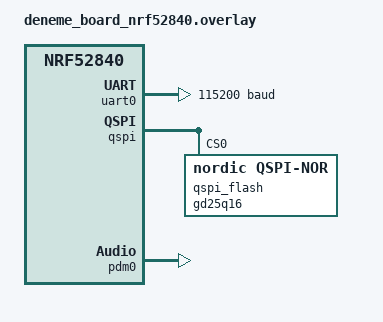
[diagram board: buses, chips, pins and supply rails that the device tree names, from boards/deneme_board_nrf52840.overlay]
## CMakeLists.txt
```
cmake_minimum_required(VERSION 3.20.0)
find_package(Zephyr REQUIRED HINTS $ENV{ZEPHYR_BASE})
project(node LANGUAGES C)

# This is a workaround for a bug in the Zephyr build system
set(ignoreMe "${NCS_TOOLCHAIN_VERSION}")

# Include directories
include_directories(
    include
)

# Add source files
file(GLOB_RECURSE APP_SOURCES
    "src/*.c"
    "drivers/*.c"
    "lib/*.c"
)


target_include_directories(app PRIVATE include)
target_sources(app PRIVATE
    ${APP_SOURCES}
)
```

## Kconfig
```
menu "Zephyr"
source "Kconfig.zephyr"
endmenu

module = Node
module-str = Node
source "subsys/logging/Kconfig.template.log_config"
```

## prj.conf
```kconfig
CONFIG_BT=y
CONFIG_BT_PERIPHERAL=y
CONFIG_BT_DEVICE_NAME="Zephyr OTS"
CONFIG_BT_OTS=y
CONFIG_BT_OTS_DIR_LIST_OBJ=y
CONFIG_BT_OTS_OBJ_NAME_WRITE_SUPPORT=y
CONFIG_BT_OTS_OACP_WRITE_SUPPORT=y
CONFIG_BT_OTS_OACP_PATCH_SUPPORT=y
CONFIG_BT_OTS_OACP_CREATE_SUPPORT=y
CONFIG_BT_OTS_OACP_DELETE_SUPPORT=y
CONFIG_BT_OTS_OACP_CHECKSUM_SUPPORT=y
CONFIG_LOG=y
CONFIG_ASSERT=y
CONFIG_FORCE_NO_ASSERT=y
# This sample needs more memory on BT_RX_THREAD
CONFIG_BT_RX_STACK_SIZE=1536
```

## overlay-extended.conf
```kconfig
CONFIG_BT_EXT_ADV=y

# Increase Advertising Data Length, as Complete Local Name too needs to be
# placed in the AUX_ADV_IND PDU compared to when it is placed in ADV_SCAN_IND
# PDU in the case of legacy advertising.
CONFIG_BT_CTLR_ADV_DATA_LEN_MAX=36
```

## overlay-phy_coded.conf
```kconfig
CONFIG_BT_EXT_ADV=y

# Enable Coded PHY support
CONFIG_BT_CTLR_PHY_CODED=y

# Disable auto PHY update, to switch to 2M PHY
CONFIG_BT_AUTO_PHY_UPDATE=n

# Increase Advertising Data Length, as Complete Local Name too needs to be
# placed in the AUX_ADV_IND PDU compared to when it is placed in ADV_SCAN_IND
# PDU in the case of legacy advertising.
CONFIG_BT_CTLR_ADV_DATA_LEN_MAX=36
```

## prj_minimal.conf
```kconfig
CONFIG_BT=y
CONFIG_BT_SMP=y
CONFIG_BT_PERIPHERAL=y
CONFIG_BT_DIS=y
CONFIG_BT_DIS_PNP=n
CONFIG_BT_BAS=y
CONFIG_BT_HRS=y
CONFIG_BT_DEVICE_NAME="Zephyr Heartrate Sensor"
CONFIG_BT_DEVICE_APPEARANCE=833

# Drivers and peripherals
CONFIG_I2C=n
CONFIG_WATCHDOG=n
CONFIG_PINCTRL=n
CONFIG_SPI=n
CONFIG_GPIO=n
CONFIG_SERIAL=n

# Power management
CONFIG_PM=n

# Interrupts
CONFIG_DYNAMIC_INTERRUPTS=n
CONFIG_IRQ_OFFLOAD=n

# Memory protection
CONFIG_THREAD_STACK_INFO=n
CONFIG_THREAD_CUSTOM_DATA=n
CONFIG_FPU=n

# Boot
CONFIG_BOOT_BANNER=n
CONFIG_BOOT_DELAY=0

# Console
CONFIG_CONSOLE=n
CONFIG_UART_CONSOLE=n
CONFIG_STDOUT_CONSOLE=n
CONFIG_PRINTK=n
CONFIG_EARLY_CONSOLE=n

# Build
CONFIG_SIZE_OPTIMIZATIONS=y

# ARM
CONFIG_ARM_MPU=n

# In order to correctly tune the stack sizes for the threads the following
# Configurations can enabled to print the current use:
# CONFIG_THREAD_NAME=y
# CONFIG_THREAD_ANALYZER=y
# CONFIG_THREAD_ANALYZER_AUTO=y
# CONFIG_THREAD_ANALYZER_RUN_UNLOCKED=y
# CONFIG_THREAD_ANALYZER_USE_PRINTK=y
# CONFIG_THREAD_ANALYZER_AUTO_INTERVAL=20
# CONFIG_CONSOLE=y
# CONFIG_UART_CONSOLE=y
# CONFIG_SERIAL=y
# CONFIG_PRINTK=y

# Example output of thread analyzer
# BT RX               : STACK: unused 576 usage 448 / 1024 (43 %); CPU: 0 %
# BT RX pri           : STACK: unused 260 usage 188 / 448 (41 %); CPU: 0 %
# BT ECC              : STACK: unused 256 usage 888 / 1144 (77 %); CPU: 1 %
# BT TX               : STACK: unused 296 usage 344 / 640 (53 %); CPU: 0 %
# thread_analyzer     : STACK: unused 128 usage 384 / 512 (75 %); CPU: 1 %
# sysworkq            : STACK: unused 856 usage 168 / 1024 (16 %); CPU: 0 %
# logging             : STACK: unused 232 usage 536 / 768 (69 %); CPU: 0 %
# idle 00             : STACK: unused 208 usage 48 / 256 (18 %); CPU: 97 %
# main                : STACK: unused 576 usage 448 / 1024 (43 %); CPU: 0 %
CONFIG_BT_RX_STACK_SIZE=1024
CONFIG_BT_HCI_TX_STACK_SIZE_WITH_PROMPT=y
CONFIG_BT_HCI_TX_STACK_SIZE=640
CONFIG_SYSTEM_WORKQUEUE_STACK_SIZE=512
CONFIG_IDLE_STACK_SIZE=128
CONFIG_MAIN_STACK_SIZE=640
CONFIG_ISR_STACK_SIZE=1024

# Disable features not needed
CONFIG_TIMESLICING=n
CONFIG_COMMON_LIBC_MALLOC=n
CONFIG_LOG=n
CONFIG_ASSERT=n

# Disable Bluetooth features not needed
# CONFIG_BT_DEBUG_NONE=y
CONFIG_BT_ASSERT=n
CONFIG_BT_DATA_LEN_UPDATE=n
CONFIG_BT_PHY_UPDATE=n
CONFIG_BT_GATT_CACHING=n
CONFIG_BT_GATT_SERVICE_CHANGED=n
CONFIG_BT_GAP_PERIPHERAL_PREF_PARAMS=n
CONFIG_BT_SETTINGS_CCC_LAZY_LOADING=y
CONFIG_BT_HCI_VS=n

# Disable Bluetooth controller features not needed
CONFIG_BT_CTLR_PRIVACY=n
CONFIG_BT_CTLR_PHY_2M=n

# Reduce Bluetooth buffers
CONFIG_BT_BUF_EVT_DISCARDABLE_COUNT=1
CONFIG_BT_BUF_EVT_DISCARDABLE_SIZE=45
CONFIG_BT_BUF_EVT_RX_COUNT=4

CONFIG_BT_L2CAP_TX_BUF_COUNT=2
CONFIG_BT_CTLR_RX_BUFFERS=1
CONFIG_BT_BUF_ACL_TX_COUNT=3
CONFIG_BT_BUF_ACL_TX_SIZE=27

# Limit the number of key slots in PSA Crypto core to reduce
# RAM footprint
CONFIG_MBEDTLS_PSA_KEY_SLOT_COUNT=5

# This is required because otherwise there won't be
# __heap_start/__heap_end symbols defined in the build. This
# is due to Mbed TLS which at boot uses standard calloc/free
# functions and only after the initialization done from Zephyr
# it switches to its internal memory management functions.
CONFIG_COMMON_LIBC_MALLOC=y
```

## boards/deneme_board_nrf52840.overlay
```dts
/*
 * Copyright (c) 2025 Your Company
 * SPDX-License-Identifier: Apache-2.0
 */

/ {
    chosen {
        zephyr,flash = &flash0;
        //zephyr,code-partition = &slot0_partition;
        zephyr,console = &uart0;
        zephyr,shell-uart = &uart0;
        zephyr,uart-mcumgr = &uart0;
    };
    
    aliases {
        watchdog0 = &wdt0;
        pdm-dev = &pdm0;
    };
};

/* UART Configuration */
&uart0 {
    compatible = "nordic,nrf-uarte";
    status = "okay";
    current-speed = <115200>;
    pinctrl-0 = <&uart0_default>;
    pinctrl-1 = <&uart0_sleep>;
    pinctrl-names = "default", "sleep";
};

/* QSPI Configuration */
&qspi {
    status = "okay";
    pinctrl-0 = <&qspi_default>;
    pinctrl-1 = <&qspi_sleep>;
    pinctrl-names = "default", "sleep";
    qspi_flash: gd25q16@0 {
        compatible = "nordic,qspi-nor";
        reg = <0>;
        sck-frequency = <8000000>;
        size = <16777216>;
        jedec-id = [c8 40 15];
        writeoc = "pp4io";
        readoc = "read4io";
    };
};

/* PDM Configuration */
dmic_dev: &pdm0 {
	status = "okay";
	pinctrl-0 = <&pdm0_default_alt>;
	pinctrl-names = "default";
	clock-source = "PCLK32M_HFXO";
};
```

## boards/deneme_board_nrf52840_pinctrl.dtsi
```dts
/*
 * Copyright (c) 2025 Your Company
 * SPDX-License-Identifier: Apache-2.0
 */

&pinctrl {
    /* UART0 NFC pins, can be used as GPIO or UART */
    uart0_default: uart0_default {
        group1 {
            psels = <NRF_PSEL(UART_TX, 0, 6)>,
                    <NRF_PSEL(UART_RX, 0, 8)>,
                    <NRF_PSEL(UART_RTS, 0, 5)>,
                    <NRF_PSEL(UART_CTS, 0, 7)>;
        };
    };

    uart0_sleep: uart0_sleep {
        group1 {
            psels = <NRF_PSEL(UART_TX, 0, 6)>,
                    <NRF_PSEL(UART_RX, 0, 8)>;
            low-power-enable;
        };
    };

    /* QSPI pins configuration */
    qspi_default: qspi_default {
        group1 {
            psels = <NRF_PSEL(QSPI_SCK, 0, 19)>,
                    <NRF_PSEL(QSPI_IO0, 0, 20)>,
                    <NRF_PSEL(QSPI_IO1, 0, 21)>,
                    <NRF_PSEL(QSPI_IO2, 0, 22)>,
                    <NRF_PSEL(QSPI_IO3, 0, 23)>,
                    <NRF_PSEL(QSPI_CSN, 0, 17)>;
            nordic,drive-mode = <NRF_DRIVE_H0H1>;
        };
    };

    qspi_sleep: qspi_sleep {
        group1 {
            psels = <NRF_PSEL(QSPI_SCK, 0, 19)>,
                    <NRF_PSEL(QSPI_IO0, 0, 20)>,
                    <NRF_PSEL(QSPI_IO1, 0, 21)>,
                    <NRF_PSEL(QSPI_IO2, 0, 22)>,
                    <NRF_PSEL(QSPI_IO3, 0, 23)>,
                    <NRF_PSEL(QSPI_CSN, 0, 17)>;
            low-power-enable;
        };
    };

    /* PDM microphone interface */
    pdm0_default_alt: pdm0_default_alt {
        group1 {
            psels = <NRF_PSEL(PDM_CLK, 0, 25)>,
                    <NRF_PSEL(PDM_DIN, 0, 24)>;
            nordic,drive-mode = <NRF_DRIVE_H0H1>;
        };
    };

    pdm0_sleep: pdm0_sleep {
        group1 {
            psels = <NRF_PSEL(PDM_CLK, 0, 25)>,
                    <NRF_PSEL(PDM_DIN, 0, 24)>;
            low-power-enable;
        };
    };
};
```

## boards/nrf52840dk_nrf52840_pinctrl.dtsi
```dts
&pinctrl {

    /* PDM microphone interface */
    pdm0_default_alt: pdm0_default_alt {
        group1 {
            psels = <NRF_PSEL(PDM_CLK, 0, 25)>,
                    <NRF_PSEL(PDM_DIN, 0, 24)>;
            nordic,drive-mode = <NRF_DRIVE_H0H1>;
        };
    };
};
```

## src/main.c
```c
/*
 * Copyright (c) 2020 Nordic Semiconductor ASA
 *
 * SPDX-License-Identifier: Apache-2.0
 */

#include <zephyr/types.h>
#include <string.h>
#include <errno.h>
#include <zephyr/sys/printk.h>
#include <zephyr/kernel.h>

#include <zephyr/bluetooth/bluetooth.h>
#include <zephyr/bluetooth/conn.h>
#include <zephyr/bluetooth/gatt.h>
#include <zephyr/bluetooth/hci.h>

#include <zephyr/bluetooth/services/ots.h>

#define DEVICE_NAME      CONFIG_BT_DEVICE_NAME
#define DEVICE_NAME_LEN  (sizeof(DEVICE_NAME) - 1)

#define OBJ_POOL_SIZE CONFIG_BT_OTS_MAX_OBJ_CNT
#define OBJ_MAX_SIZE  100

static const struct bt_data ad[] = {
	BT_DATA_BYTES(BT_DATA_FLAGS, (BT_LE_AD_GENERAL | BT_LE_AD_NO_BREDR)),
	BT_DATA(BT_DATA_NAME_COMPLETE, DEVICE_NAME, DEVICE_NAME_LEN),
};

static const struct bt_data sd[] = {
	BT_DATA_BYTES(BT_DATA_UUID16_ALL, BT_UUID_16_ENCODE(BT_UUID_OTS_VAL)),
};

static struct {
	uint8_t data[OBJ_MAX_SIZE];
	char name[CONFIG_BT_OTS_OBJ_MAX_NAME_LEN + 1];
} objects[OBJ_POOL_SIZE];
static uint32_t obj_cnt;

struct object_creation_data {
	struct bt_ots_obj_size size;
	char *name;
	uint32_t props;
};

#define OTS_OBJ_ID_TO_OBJ_IDX(id) (((id) - BT_OTS_OBJ_ID_MIN) % ARRAY_SIZE(objects))

static struct object_creation_data *object_being_created;

static void connected(struct bt_conn *conn, uint8_t err)
{
	if (err) {
		printk("Connection failed, err %u %s\n", err, bt_hci_err_to_str(err));
		return;
	}

	printk("Connected\n");
}

static void disconnected(struct bt_conn *conn, uint8_t reason)
{
	printk("Disconnected, reason %u %s\n", reason, bt_hci_err_to_str(reason));
}

BT_CONN_CB_DEFINE(conn_callbacks) = {
	.connected = connected,
	.disconnected = disconnected,
};

static int ots_obj_created(struct bt_ots *ots, struct bt_conn *conn, uint64_t id,
			   const struct bt_ots_obj_add_param *add_param,
			   struct bt_ots_obj_created_desc *created_desc)
{
	char id_str[BT_OTS_OBJ_ID_STR_LEN];
	uint64_t index;

	bt_ots_obj_id_to_str(id, id_str, sizeof(id_str));

	if (obj_cnt >= ARRAY_SIZE(objects)) {
		printk("No item from Object pool is available for Object "
		       "with %s ID\n", id_str);
		return -ENOMEM;
	}

	if (add_param->size > OBJ_MAX_SIZE) {
		printk("Object pool item is too small for Object with %s ID\n",
		       id_str);
		return -ENOMEM;
	}

	if (object_being_created) {
		created_desc->name = object_being_created->name;
		created_desc->size = object_being_created->size;
		created_desc->props = object_being_created->props;
	} else {
		index = id - BT_OTS_OBJ_ID_MIN;
		objects[index].name[0] = '\0';

		created_desc->name = objects[index].name;
		created_desc->size.alloc = OBJ_MAX_SIZE;
		BT_OTS_OBJ_SET_PROP_READ(created_desc->props);
		BT_OTS_OBJ_SET_PROP_WRITE(created_desc->props);
		BT_OTS_OBJ_SET_PROP_PATCH(created_desc->props);
		BT_OTS_OBJ_SET_PROP_DELETE(created_desc->props);
	}

	printk("Object with %s ID has been created\n", id_str);
	obj_cnt++;

	return 0;
}

static int ots_obj_deleted(struct bt_ots *ots, struct bt_conn *conn,
			    uint64_t id)
{
	char id_str[BT_OTS_OBJ_ID_STR_LEN];

	bt_ots_obj_id_to_str(id, id_str, sizeof(id_str));

	printk("Object with %s ID has been deleted\n", id_str);

	obj_cnt--;

	return 0;
}

static void ots_obj_selected(struct bt_ots *ots, struct bt_conn *conn,
			     uint64_t id)
{
	char id_str[BT_OTS_OBJ_ID_STR_LEN];

	bt_ots_obj_id_to_str(id, id_str, sizeof(id_str));

	printk("Object with %s ID has been selected\n", id_str);
}

static ssize_t ots_obj_read(struct bt_ots *ots, struct bt_conn *conn,
			    uint64_t id, void **data, size_t len,
			    off_t offset)
{
	char id_str[BT_OTS_OBJ_ID_STR_LEN];
	uint32_t obj_index = OTS_OBJ_ID_TO_OBJ_IDX(id);

	bt_ots_obj_id_to_str(id, id_str, sizeof(id_str));

	if (!data) {
		printk("Object with %s ID has been successfully read\n",
		       id_str);

		return 0;
	}

	*data = &objects[obj_index].data[offset];

	/* Send even-indexed objects in 20 byte packets
	 * to demonstrate fragmented transmission.
	 */
	if ((obj_index % 2) == 0) {
		len = (len < 20) ? len : 20;
	}

	printk("Object with %s ID is being read\n"
		"Offset = %lu, Length = %zu\n",
		id_str, (long)offset, len);

	return len;
}

static ssize_t ots_obj_write(struct bt_ots *ots, struct bt_conn *conn,
			     uint64_t id, const void *data, size_t len,
			     off_t offset, size_t rem)
{
	char id_str[BT_OTS_OBJ_ID_STR_LEN];
	uint32_t obj_index = OTS_OBJ_ID_TO_OBJ_IDX(id);

	bt_ots_obj_id_to_str(id, id_str, sizeof(id_str));

	printk("Object with %s ID is being written\n"
		"Offset = %lu, Length = %zu, Remaining= %zu\n",
		id_str, (long)offset, len, rem);

	(void)memcpy(&objects[obj_index].data[offset], data, len);

	return len;
}

static void ots_obj_name_written(struct bt_ots *ots, struct bt_conn *conn,
				 uint64_t id, const char *cur_name, const char *new_name)
{
	char id_str[BT_OTS_OBJ_ID_STR_LEN];

	bt_ots_obj_id_to_str(id, id_str, sizeof(id_str));

	printk("Name for object with %s ID is being changed from '%s' to '%s'\n",
		id_str, cur_name, new_name);
}

static int ots_obj_cal_checksum(struct bt_ots *ots, struct bt_conn *conn, uint64_t id,
				off_t offset, size_t len, void **data)
{
	uint32_t obj_index = OTS_OBJ_ID_TO_OBJ_IDX(id);

	if (obj_index >= OBJ_POOL_SIZE) {
		return -ENOENT;
	}

	*data = &objects[obj_index].data[offset];
	return 0;
}

static struct bt_ots_cb ots_callbacks = {
	.obj_created = ots_obj_created,
	.obj_deleted = ots_obj_deleted,
	.obj_selected = ots_obj_selected,
	.obj_read = ots_obj_read,
	.obj_write = ots_obj_write,
	.obj_name_written = ots_obj_name_written,
	.obj_cal_checksum = ots_obj_cal_checksum,
};

static int ots_init(void)
{
	int err;
	struct bt_ots *ots;
	struct object_creation_data obj_data;
	struct bt_ots_init_param ots_init;
	struct bt_ots_obj_add_param param;
	const char * const first_object_name = "first_object.txt";
	const char * const second_object_name = "second_object.gif";
	uint32_t cur_size;
	uint32_t alloc_size;

	ots = bt_ots_free_instance_get();
	if (!ots) {
		printk("Failed to retrieve OTS instance\n");
		return -ENOMEM;
	}

	/* Configure OTS initialization. */
	(void)memset(&ots_init, 0, sizeof(ots_init));
	BT_OTS_OACP_SET_FEAT_READ(ots_init.features.oacp);
	BT_OTS_OACP_SET_FEAT_WRITE(ots_init.features.oacp);
	BT_OTS_OACP_SET_FEAT_CREATE(ots_init.features.oacp);
	BT_OTS_OACP_SET_FEAT_DELETE(ots_init.features.oacp);
	BT_OTS_OACP_SET_FEAT_PATCH(ots_init.features.oacp);
	BT_OTS_OLCP_SET_FEAT_GO_TO(ots_init.features.olcp);
	ots_init.cb = &ots_callbacks;

	/* Initialize OTS instance. */
	err = bt_ots_init(ots, &ots_init);
	if (err) {
		printk("Failed to init OTS (err:%d)\n", err);
		return err;
	}

	/* Prepare first object demo data and add it to the instance. */
	cur_size = sizeof(objects[0].data) / 2;
	alloc_size = sizeof(objects[0].data);
	for (uint32_t i = 0; i < cur_size; i++) {
		objects[0].data[i] = i + 1;
	}

	(void)memset(&obj_data, 0, sizeof(obj_data));
	__ASSERT(strlen(first_object_name) <= CONFIG_BT_OTS_OBJ_MAX_NAME_LEN,
		 "Object name length is larger than the allowed maximum of %u",
		 CONFIG_BT_OTS_OBJ_MAX_NAME_LEN);
	(void)strcpy(objects[0].name, first_object_name);
	obj_data.name = objects[0].name;
	obj_data.size.cur = cur_size;
	obj_data.size.alloc = alloc_size;
	BT_OTS_OBJ_SET_PROP_READ(obj_data.props);
	BT_OTS_OBJ_SET_PROP_WRITE(obj_data.props);
	BT_OTS_OBJ_SET_PROP_PATCH(obj_data.props);
	object_being_created = &obj_data;

	param.size = alloc_size;
	param.type.uuid.type = BT_UUID_TYPE_16;
	param.type.uuid_16.val = BT_UUID_OTS_TYPE_UNSPECIFIED_VAL;
	err = bt_ots_obj_add(ots, &param);
	object_being_created = NULL;
	if (err < 0) {
		printk("Failed to add an object to OTS (err: %d)\n", err);
		return err;
	}

	/* Prepare second object demo data and add it to the instance. */
	cur_size = sizeof(objects[0].data);
	alloc_size = sizeof(objects[0].data);
	for (uint32_t i = 0; i < cur_size; i++) {
		objects[1].data[i] = i * 2;
	}

	(void)memset(&obj_data, 0, sizeof(obj_data));
	__ASSERT(strlen(second_object_name) <= CONFIG_BT_OTS_OBJ_MAX_NAME_LEN,
		 "Object name length is larger than the allowed maximum of %u",
		 CONFIG_BT_OTS_OBJ_MAX_NAME_LEN);
	(void)strcpy(objects[1].name, second_object_name);
	obj_data.name = objects[1].name;
	obj_data.size.cur = cur_size;
	obj_data.size.alloc = alloc_size;
	BT_OTS_OBJ_SET_PROP_READ(obj_data.props);
	object_being_created = &obj_data;

	param.size = alloc_size;
	param.type.uuid.type = BT_UUID_TYPE_16;
	param.type.uuid_16.val = BT_UUID_OTS_TYPE_UNSPECIFIED_VAL;
	err = bt_ots_obj_add(ots, &param);
	object_being_created = NULL;
	if (err < 0) {
		printk("Failed to add an object to OTS (err: %d)\n", err);
		return err;
	}

	return 0;
}

int main(void)
{
	int err;

	printk("Starting Bluetooth Peripheral OTS example\n");

	err = bt_enable(NULL);
	if (err) {
		printk("Bluetooth init failed (err %d)\n", err);
		return 0;
	}

	printk("Bluetooth initialized\n");

	err = ots_init();
	if (err) {
		printk("Failed to init OTS (err:%d)\n", err);
		return 0;
	}

	err = bt_le_adv_start(BT_LE_ADV_CONN_FAST_1, ad, ARRAY_SIZE(ad), sd, ARRAY_SIZE(sd));
	if (err) {
		printk("Advertising failed to start (err %d)\n", err);
		return 0;
	}

	printk("Advertising successfully started\n");
	return 0;
}
```

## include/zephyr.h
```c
#pragma once

#include <zephyr/kernel.h>
#include <zephyr/device.h>

#include <zephyr/sys/printk.h>
#include <zephyr/sys/__assert.h>

#include <zephyr/audio/dmic.h>
#include <zephyr/logging/log.h>


#include <zephyr/bluetooth/bluetooth.h>
#include <zephyr/bluetooth/gatt.h>
#include <zephyr/bluetooth/conn.h>
#include <zephyr/bluetooth/hci.h>
#include <zephyr/bluetooth/uuid.h>
#include <zephyr/bluetooth/gap.h>

#include <zephyr/drivers/adc.h>
#include <zephyr/drivers/gpio.h>
#include <zephyr/drivers/flash.h>

// End of zephyr.h
```
